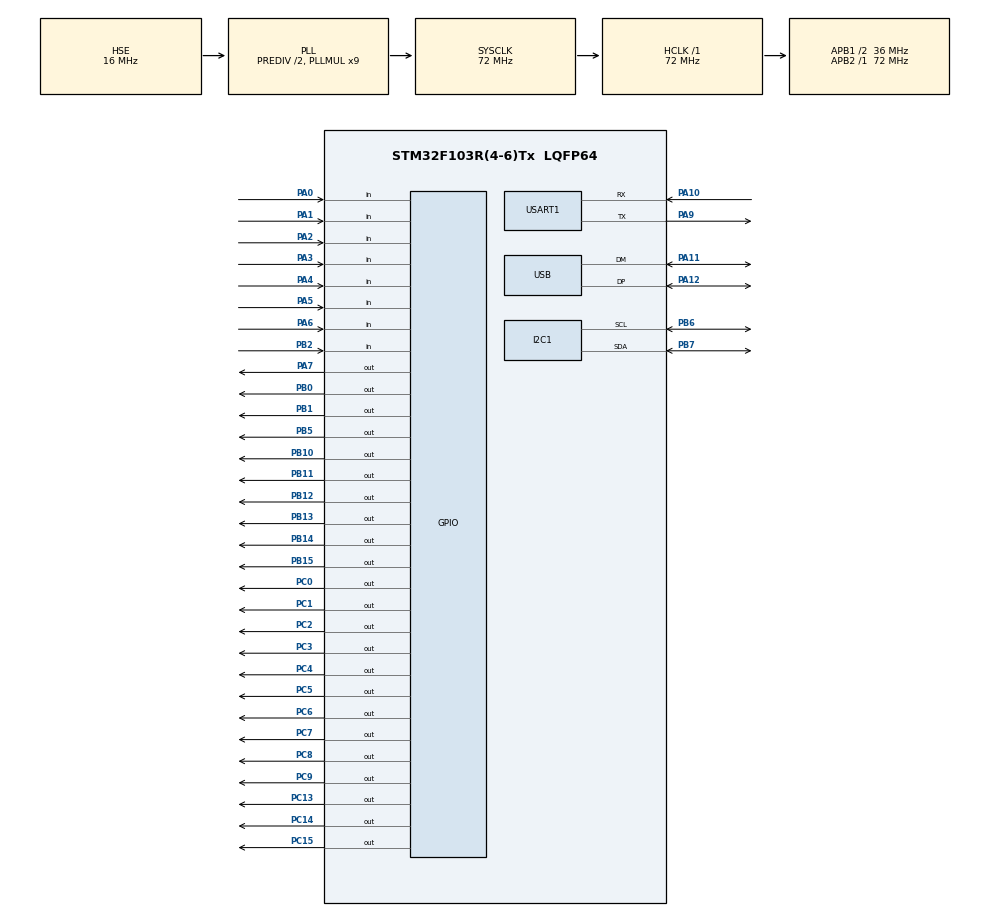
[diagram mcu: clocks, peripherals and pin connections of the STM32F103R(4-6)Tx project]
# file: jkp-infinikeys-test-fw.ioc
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FREERTOS.Tasks01=defaultTask,0,128,StartDefaultTask,Default,NULL
Mcu.Family=STM32F1
Mcu.Name=STM32F103R(4-6)Tx
Mcu.Package=LQFP64
NVIC.PriorityGroup=NVIC_PRIORITYGROUP_4
NVIC.TIM1_UP_IRQn=true\:0\:0\:false\:false\:true\:false\:false\:true
NVIC.TimeBase=TIM1_UP_IRQn
NVIC.TimeBaseIP=TIM1
NVIC.USB_LP_CAN1_RX0_IRQn=true\:5\:0\:false\:false\:true\:true\:false\:true
PA0-WKUP.GPIO_PuPd=GPIO_PULLDOWN
PA0-WKUP.Signal=GPIO_Input
PA1.GPIO_PuPd=GPIO_PULLDOWN
PA1.Signal=GPIO_Input
PA10.Mode=Asynchronous
PA10.Signal=USART1_RX
PA11.Mode=Device
PA11.Signal=USB_DM
PA12.Mode=Device
PA12.Signal=USB_DP
PA13.Mode=Serial_Wire
PA13.Signal=SYS_JTMS-SWDIO
PA14.Mode=Serial_Wire
PA14.Signal=SYS_JTCK-SWCLK
PA2.GPIO_PuPd=GPIO_PULLDOWN
PA2.Signal=GPIO_Input
PA3.GPIO_PuPd=GPIO_PULLDOWN
PA3.Signal=GPIO_Input
PA4.GPIO_PuPd=GPIO_PULLDOWN
PA4.Signal=GPIO_Input
PA5.GPIO_PuPd=GPIO_PULLDOWN
PA5.Signal=GPIO_Input
PA6.GPIO_PuPd=GPIO_PULLDOWN
PA6.Signal=GPIO_Input
PA7.Signal=GPIO_Output
PA9.Mode=Asynchronous
PA9.Signal=USART1_TX
PB0.Signal=GPIO_Output
PB1.Signal=GPIO_Output
PB10.Signal=GPIO_Output
PB11.Signal=GPIO_Output
PB12.Signal=GPIO_Output
PB13.Signal=GPIO_Output
PB14.Signal=GPIO_Output
PB15.Signal=GPIO_Output
PB2.Signal=GPIO_Input
PB5.Signal=GPIO_Output
PB6.Mode=I2C
PB6.Signal=I2C1_SCL
PB7.Mode=I2C
PB7.Signal=I2C1_SDA
PC0.Signal=GPIO_Output
PC1.Signal=GPIO_Output
PC13-TAMPER-RTC.Signal=GPIO_Output
PC14-OSC32_IN.Signal=GPIO_Output
PC15-OSC32_OUT.Signal=GPIO_Output
PC2.Signal=GPIO_Output
PC3.Signal=GPIO_Output
PC4.Signal=GPIO_Output
PC5.Signal=GPIO_Output
PC6.Signal=GPIO_Output
PC7.Signal=GPIO_Output
PC8.Signal=GPIO_Output
PC9.Signal=GPIO_Output
PD0-OSC_IN.Mode=HSE-External-Oscillator
PD0-OSC_IN.Signal=RCC_OSC_IN
PD1-OSC_OUT.Mode=HSE-External-Oscillator
PD1-OSC_OUT.Signal=RCC_OSC_OUT
ProjectManager.HeapSize=0x200
ProjectManager.StackSize=0x400
ProjectManager.TargetToolchain=Makefile
RCC.AHBFreq_Value=72000000
RCC.APB1CLKDivider=RCC_HCLK_DIV2
RCC.APB1Freq_Value=36000000
RCC.APB1TimFreq_Value=72000000
RCC.APB2Freq_Value=72000000
RCC.APB2TimFreq_Value=72000000
RCC.HCLKFreq_Value=72000000
RCC.HSEDivPLL=RCC_HSE_PREDIV_DIV2
RCC.HSE_VALUE=16000000
RCC.PLLMUL=RCC_PLL_MUL9
RCC.PLLSourceVirtual=RCC_PLLSOURCE_HSE
RCC.SYSCLKFreq_VALUE=72000000
RCC.SYSCLKSource=RCC_SYSCLKSOURCE_PLLCLK
RCC.USBFreq_Value=48000000
RCC.USBPrescaler=RCC_USBCLKSOURCE_PLL_DIV1_5
USART1.VirtualMode=VM_ASYNC
USB_DEVICE.CLASS_NAME_FS=CUSTOM_HID
USB_DEVICE.MANUFACTURER_STRING=Johannes Berndorfer
USB_DEVICE.PID_CUSTOMHID_FS=1024
USB_DEVICE.PRODUCT_STRING_CUSTOMHID_FS=JKP Programmer Keyboard
USB_DEVICE.VirtualMode=CustomHid
USB_DEVICE.VirtualModeFS=Custom_Hid_FS
VP_FREERTOS_VS_CMSIS_V1.Mode=CMSIS_V1
VP_SYS_VS_tim1.Mode=TIM1
VP_USB_DEVICE_VS_USB_DEVICE_CUSTOM_HID_FS.Mode=CUSTOM_HID_FS
board=custom

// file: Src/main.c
/* USER CODE BEGIN Header */
/**
  ******************************************************************************
  * @file           : main.c
  * @brief          : Main program body
  ******************************************************************************
  * @attention
  *
  * <h2><center>&copy; Copyright (c) 2019 STMicroelectronics.
  * All rights reserved.</center></h2>
  *
  * This software component is licensed by ST under Ultimate Liberty license
  * SLA0044, the "License"; You may not use this file except in compliance with
  * the License. You may obtain a copy of the License at:
  *                             www.st.com/SLA0044
  *
  ******************************************************************************
  */
/* USER CODE END Header */

#include "main.h"
#include "cmsis_os.h"
#include "usb_device.h"

/* USER CODE BEGIN Includes */
#include "fwtasks.h"
#include "infinikeys.h"
/* USER CODE END Includes */

I2C_HandleTypeDef hi2c1;

UART_HandleTypeDef huart1;

osThreadId defaultTaskHandle;
/* USER CODE BEGIN PV */
IS31FL3236_HandleTypeDef h_rgb_controller;
/* USER CODE END PV */

void SystemClock_Config(void);
static void MX_GPIO_Init(void);
static void MX_I2C1_Init(void);
static void MX_USART1_UART_Init(void);
void StartDefaultTask(void const * argument);

/* USER CODE BEGIN PFP */
static void JKPHAL_InitIS31FL3236(void);
/* USER CODE END PFP */

int main(void)
{

  /* MCU Configuration--------------------------------------------------------*/

  /* Reset of all peripherals, Initializes the Flash interface and the Systick. */
  HAL_Init();

  /* Configure the system clock */
  SystemClock_Config();

  /* Initialize all configured peripherals */
  MX_GPIO_Init();
  MX_I2C1_Init();
  MX_USART1_UART_Init();
  /* USER CODE BEGIN 2 */
  JKPHAL_InitIS31FL3236();
  if (IK_Init() != 0)
  {
      Error_Handler();
  }
  /* USER CODE END 2 */

  /* Create the thread(s) */
  /* definition and creation of defaultTask */
  osThreadDef(defaultTask, StartDefaultTask, osPriorityNormal, 0, 128);
  defaultTaskHandle = osThreadCreate(osThread(defaultTask), NULL);

  /* Start scheduler */
  osKernelStart();

  /* We should never get here as control is now taken by the scheduler */

  /* Infinite loop */
  while (1)
  {

  }
}

void SystemClock_Config(void)
{
  RCC_OscInitTypeDef RCC_OscInitStruct = {0};
  RCC_ClkInitTypeDef RCC_ClkInitStruct = {0};
  RCC_PeriphCLKInitTypeDef PeriphClkInit = {0};

  /** Initializes the CPU, AHB and APB busses clocks
  */
  RCC_OscInitStruct.OscillatorType = RCC_OSCILLATORTYPE_HSE;
  RCC_OscInitStruct.HSEState = RCC_HSE_ON;
  RCC_OscInitStruct.HSEPredivValue = RCC_HSE_PREDIV_DIV2;
  RCC_OscInitStruct.HSIState = RCC_HSI_ON;
  RCC_OscInitStruct.PLL.PLLState = RCC_PLL_ON;
  RCC_OscInitStruct.PLL.PLLSource = RCC_PLLSOURCE_HSE;
  RCC_OscInitStruct.PLL.PLLMUL = RCC_PLL_MUL9;
  if (HAL_RCC_OscConfig(&RCC_OscInitStruct) != HAL_OK)
  {
    Error_Handler();
  }
  /** Initializes the CPU, AHB and APB busses clocks
  */
  RCC_ClkInitStruct.ClockType = RCC_CLOCKTYPE_HCLK|RCC_CLOCKTYPE_SYSCLK
                              |RCC_CLOCKTYPE_PCLK1|RCC_CLOCKTYPE_PCLK2;
  RCC_ClkInitStruct.SYSCLKSource = RCC_SYSCLKSOURCE_PLLCLK;
  RCC_ClkInitStruct.AHBCLKDivider = RCC_SYSCLK_DIV1;
  RCC_ClkInitStruct.APB1CLKDivider = RCC_HCLK_DIV2;
  RCC_ClkInitStruct.APB2CLKDivider = RCC_HCLK_DIV1;

  if (HAL_RCC_ClockConfig(&RCC_ClkInitStruct, FLASH_LATENCY_2) != HAL_OK)
  {
    Error_Handler();
  }
  PeriphClkInit.PeriphClockSelection = RCC_PERIPHCLK_USB;
  PeriphClkInit.UsbClockSelection = RCC_USBCLKSOURCE_PLL_DIV1_5;
  if (HAL_RCCEx_PeriphCLKConfig(&PeriphClkInit) != HAL_OK)
  {
    Error_Handler();
  }
}

static void MX_I2C1_Init(void)
{

  hi2c1.Instance = I2C1;
  hi2c1.Init.ClockSpeed = 100000;
  hi2c1.Init.DutyCycle = I2C_DUTYCYCLE_2;
  hi2c1.Init.OwnAddress1 = 0;
  hi2c1.Init.AddressingMode = I2C_ADDRESSINGMODE_7BIT;
  hi2c1.Init.DualAddressMode = I2C_DUALADDRESS_DISABLE;
  hi2c1.Init.OwnAddress2 = 0;
  hi2c1.Init.GeneralCallMode = I2C_GENERALCALL_DISABLE;
  hi2c1.Init.NoStretchMode = I2C_NOSTRETCH_DISABLE;
  if (HAL_I2C_Init(&hi2c1) != HAL_OK)
  {
    Error_Handler();
  }

}

static void MX_USART1_UART_Init(void)
{

  huart1.Instance = USART1;
  huart1.Init.BaudRate = 115200;
  huart1.Init.WordLength = UART_WORDLENGTH_8B;
  huart1.Init.StopBits = UART_STOPBITS_1;
  huart1.Init.Parity = UART_PARITY_NONE;
  huart1.Init.Mode = UART_MODE_TX_RX;
  huart1.Init.HwFlowCtl = UART_HWCONTROL_NONE;
  huart1.Init.OverSampling = UART_OVERSAMPLING_16;
  if (HAL_UART_Init(&huart1) != HAL_OK)
  {
    Error_Handler();
  }

}

static void MX_GPIO_Init(void)
{
  GPIO_InitTypeDef GPIO_InitStruct = {0};

  /* GPIO Ports Clock Enable */
  __HAL_RCC_GPIOC_CLK_ENABLE();
  __HAL_RCC_GPIOD_CLK_ENABLE();
  __HAL_RCC_GPIOA_CLK_ENABLE();
  __HAL_RCC_GPIOB_CLK_ENABLE();

  /*Configure GPIO pin Output Level */
  HAL_GPIO_WritePin(GPIOC, GPIO_PIN_13|GPIO_PIN_14|GPIO_PIN_15|GPIO_PIN_0
                          |GPIO_PIN_1|GPIO_PIN_2|GPIO_PIN_3|GPIO_PIN_4
                          |GPIO_PIN_5|GPIO_PIN_6|GPIO_PIN_7|GPIO_PIN_8
                          |GPIO_PIN_9, GPIO_PIN_RESET);

  /*Configure GPIO pin Output Level */
  HAL_GPIO_WritePin(GPIOA, GPIO_PIN_7, GPIO_PIN_RESET);

  /*Configure GPIO pin Output Level */
  HAL_GPIO_WritePin(GPIOB, GPIO_PIN_0|GPIO_PIN_1|GPIO_PIN_10|GPIO_PIN_11
                          |GPIO_PIN_12|GPIO_PIN_13|GPIO_PIN_14|GPIO_PIN_15
                          |GPIO_PIN_5, GPIO_PIN_RESET);

  /*Configure GPIO pins : PC13 PC14 PC15 PC0
                           PC1 PC2 PC3 PC4
                           PC5 PC6 PC7 PC8
                           PC9 */
  GPIO_InitStruct.Pin = GPIO_PIN_13|GPIO_PIN_14|GPIO_PIN_15|GPIO_PIN_0
                          |GPIO_PIN_1|GPIO_PIN_2|GPIO_PIN_3|GPIO_PIN_4
                          |GPIO_PIN_5|GPIO_PIN_6|GPIO_PIN_7|GPIO_PIN_8
                          |GPIO_PIN_9;
  GPIO_InitStruct.Mode = GPIO_MODE_OUTPUT_PP;
  GPIO_InitStruct.Pull = GPIO_NOPULL;
  GPIO_InitStruct.Speed = GPIO_SPEED_FREQ_LOW;
  HAL_GPIO_Init(GPIOC, &GPIO_InitStruct);

  /*Configure GPIO pins : PA0 PA1 PA2 PA3
                           PA4 PA5 PA6 */
  GPIO_InitStruct.Pin = GPIO_PIN_0|GPIO_PIN_1|GPIO_PIN_2|GPIO_PIN_3
                          |GPIO_PIN_4|GPIO_PIN_5|GPIO_PIN_6;
  GPIO_InitStruct.Mode = GPIO_MODE_INPUT;
  GPIO_InitStruct.Pull = GPIO_PULLDOWN;
  HAL_GPIO_Init(GPIOA, &GPIO_InitStruct);

  /*Configure GPIO pin : PA7 */
  GPIO_InitStruct.Pin = GPIO_PIN_7;
  GPIO_InitStruct.Mode = GPIO_MODE_OUTPUT_PP;
  GPIO_InitStruct.Pull = GPIO_NOPULL;
  GPIO_InitStruct.Speed = GPIO_SPEED_FREQ_LOW;
  HAL_GPIO_Init(GPIOA, &GPIO_InitStruct);

  /*Configure GPIO pins : PB0 PB1 PB10 PB11
                           PB12 PB13 PB14 PB15
                           PB5 */
  GPIO_InitStruct.Pin = GPIO_PIN_0|GPIO_PIN_1|GPIO_PIN_10|GPIO_PIN_11
                          |GPIO_PIN_12|GPIO_PIN_13|GPIO_PIN_14|GPIO_PIN_15
                          |GPIO_PIN_5;
  GPIO_InitStruct.Mode = GPIO_MODE_OUTPUT_PP;
  GPIO_InitStruct.Pull = GPIO_NOPULL;
  GPIO_InitStruct.Speed = GPIO_SPEED_FREQ_LOW;
  HAL_GPIO_Init(GPIOB, &GPIO_InitStruct);

  /*Configure GPIO pin : PB2 */
  GPIO_InitStruct.Pin = GPIO_PIN_2;
  GPIO_InitStruct.Mode = GPIO_MODE_INPUT;
  GPIO_InitStruct.Pull = GPIO_NOPULL;
  HAL_GPIO_Init(GPIOB, &GPIO_InitStruct);

}

/* USER CODE BEGIN 4 */
static void JKPHAL_InitIS31FL3236(void)
{
    h_rgb_controller.Init.I2C_Bus = &hi2c1;
	h_rgb_controller.Init.I2C_Transmit_Timeout_Milliseconds = 10;
	h_rgb_controller.Init.I2C_Device_Address = IS31FL3236_GET_I2C_ADDR(IS31FL3236_I2C_AD_TO_GND);
	h_rgb_controller.Init.Chip_Enable_Signal_Pin = GPIO_PIN_5;
	h_rgb_controller.Init.Chip_Enable_Signal_Port = GPIOB;
	h_rgb_controller.Init.RGB_Mode_Color_1 = IS31FL3236_RGB_CONFIG_RED;
	h_rgb_controller.Init.RGB_Mode_Color_2 = IS31FL3236_RGB_CONFIG_GREEN;
	h_rgb_controller.Init.RGB_Mode_Color_3 = IS31FL3236_RGB_CONFIG_BLUE;

	IS31FL3236_Init(&h_rgb_controller);

	IS31FL3236_WriteGlobalLEDControl(&h_rgb_controller, IS31FL3236_LED_CURRENT_MAX, IS31FL3236_LED_STATE_ON);
}
/* USER CODE END 4 */

void StartDefaultTask(void const * argument)
{

  /* init code for USB_DEVICE */
  MX_USB_DEVICE_Init();

  /* USER CODE BEGIN 5 */
  /* Infinite loop */
  TASK_ExecMain(argument);
  /* USER CODE END 5 */
}

void HAL_TIM_PeriodElapsedCallback(TIM_HandleTypeDef *htim)
{
  if (htim->Instance == TIM1) {
    HAL_IncTick();
  }
}

void Error_Handler(void)
{
}

/************************ (C) COPYRIGHT STMicroelectronics *****END OF FILE****/
